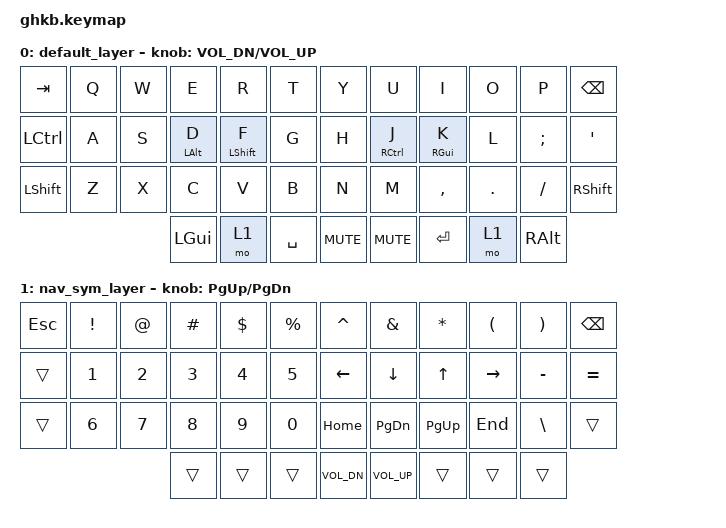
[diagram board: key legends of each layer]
/*
 * Copyright (c) 2026 GyeongHo Kim
 * SPDX-License-Identifier: GPL-3.0-or-later
 */

#include <behaviors.dtsi>
#include <dt-bindings/zmk/keys.h>
#include <dt-bindings/zmk/bt.h>
#include <dt-bindings/zmk/outputs.h>

/ {
    behaviors {
        hm: homerow_mods {
            compatible = "zmk,behavior-hold-tap";
            #binding-cells = <2>;
            tapping-term-ms = <200>;
            quick-tap-ms = <150>;
            flavor = "tap-preferred";
            bindings = <&kp>, <&kp>;
        };
    };

    combos {
        compatible = "zmk,combos";

        combo_esc {
            timeout-ms = <50>;
            key-positions = <14 15>; // left home row: S + D
            bindings = <&kp ESC>;
        };
    };

    keymap {
        compatible = "zmk,keymap";

        default_layer {
            // Position order matches ghkb.dtsi's default_transform map exactly:
            // row0/1/2: left outer..inner, right inner..outer (12 each)
            // row3: left near/home/far/[enc], right [enc]/far/home/near (8)
            bindings = <
&kp TAB    &kp Q &kp W &kp E      &kp R      &kp T        &kp Y      &kp U      &kp I      &kp O   &kp P    &kp BSPC
&kp LCTRL  &kp A &kp S &hm LALT D &hm LSHFT F &kp G       &kp H      &hm RCTRL J &hm RGUI K &kp L  &kp SEMI &kp SQT
&kp LSHFT  &kp Z &kp X &kp C      &kp V      &kp B        &kp N      &kp M      &kp COMMA  &kp DOT &kp FSLH &kp RSHFT
                        &kp LGUI   &mo 1      &kp SPACE    &kp C_MUTE &kp C_MUTE &kp RET    &mo 1   &kp RALT
            >;

            sensor-bindings = <&inc_dec_kp C_VOL_DN C_VOL_UP>;
        };

        nav_sym_layer {
            bindings = <
&kp ESC  &kp EXCL &kp AT   &kp HASH &kp DLLR &kp PRCNT    &kp CARET &kp AMPS  &kp STAR  &kp LPAR &kp RPAR  &kp BSPC
&trans   &kp N1   &kp N2   &kp N3   &kp N4   &kp N5       &kp LEFT  &kp DOWN  &kp UP    &kp RIGHT &kp MINUS &kp EQUAL
&trans   &kp N6   &kp N7   &kp N8   &kp N9   &kp N0       &kp HOME  &kp PG_DN &kp PG_UP &kp END  &kp BSLH  &trans
                   &trans   &trans   &trans       &kp C_VOL_DN &kp C_VOL_UP &trans &trans &trans
            >;

            sensor-bindings = <&inc_dec_kp PG_UP PG_DN>;
        };
    };
};
